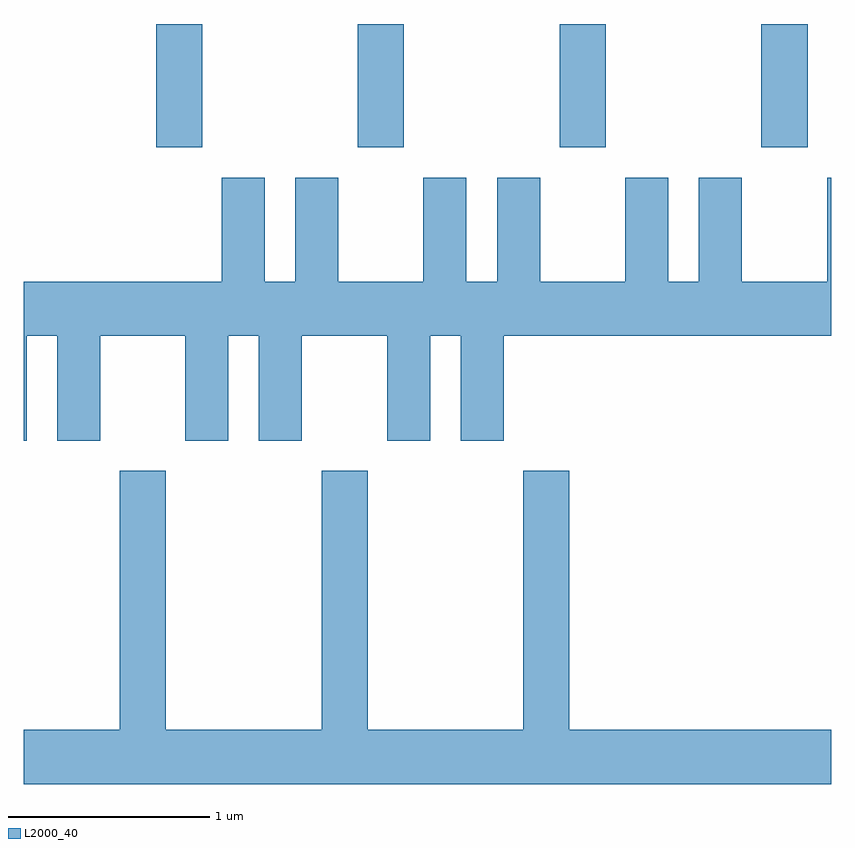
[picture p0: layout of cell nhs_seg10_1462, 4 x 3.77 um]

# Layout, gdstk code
import gdstk
lib = gdstk.Library(unit=1e-6, precision=1e-09)
def R(c, l, rs):  # rectangles x0, y0, x1, y1
    for r in rs: c.add(gdstk.rectangle(r[:2], r[2:], *l))
def A(c, l, x, y, w, h, nx, ny, dx, dy):  # array of equal rectangles
    R(c, l, [(x+i*dx, y+j*dy, x+i*dx+w, y+j*dy+h) for i in range(nx) for j in range(ny)])
def P(c, l, *ps):  # polygons
    for p in ps: c.add(gdstk.Polygon(p, *l))
L2000_40 = (2000, 40)

nhs_seg10_1462 = lib.new_cell('nhs_seg10_1462')
A(nhs_seg10_1462, L2000_40, 228.266, 2165.911, 0.228, 0.611, 4, 1, 1, 0)
P(nhs_seg10_1462, L2000_40, [(227.624,2164.976),(227.776,2164.976),(227.776,2164.456),(227.989,2164.456),(227.989,2164.976),(228.411,2164.976),(228.411,2164.456),(228.624,2164.456),(228.624,2164.976),(228.776,2164.976),(228.776,2164.456),(228.989,2164.456),(228.989,2164.976),(229.411,2164.976),(229.411,2164.456),(229.624,2164.456),(229.624,2164.976),(229.776,2164.976),(229.776,2164.456),(229.989,2164.456),(229.989,2164.976),(231.611,2164.976),(231.611,2165.759),(231.591,2165.759),(231.591,2165.244),(231.169,2165.244),(231.169,2165.759),(230.956,2165.759),(230.956,2165.244),(230.804,2165.244),(230.804,2165.759),(230.591,2165.759),(230.591,2165.244),(230.169,2165.244),(230.169,2165.759),(229.956,2165.759),(229.956,2165.244),(229.804,2165.244),(229.804,2165.759),(229.591,2165.759),(229.591,2165.244),(229.169,2165.244),(229.169,2165.759),(228.956,2165.759),(228.956,2165.244),(228.804,2165.244),(228.804,2165.759),(228.591,2165.759),(228.591,2165.244),(227.611,2165.244),(227.611,2164.456),(227.624,2164.456)],
  [(231.611,2163.024),(230.314,2163.024),(230.314,2164.309),(230.086,2164.309),(230.086,2163.024),(229.314,2163.024),(229.314,2164.309),(229.086,2164.309),(229.086,2163.024),(228.314,2163.024),(228.314,2164.309),(228.086,2164.309),(228.086,2163.024),(227.611,2163.024),(227.611,2162.756),(231.611,2162.756)])

lib.write_gds('nhs_seg10_1462.gds')
